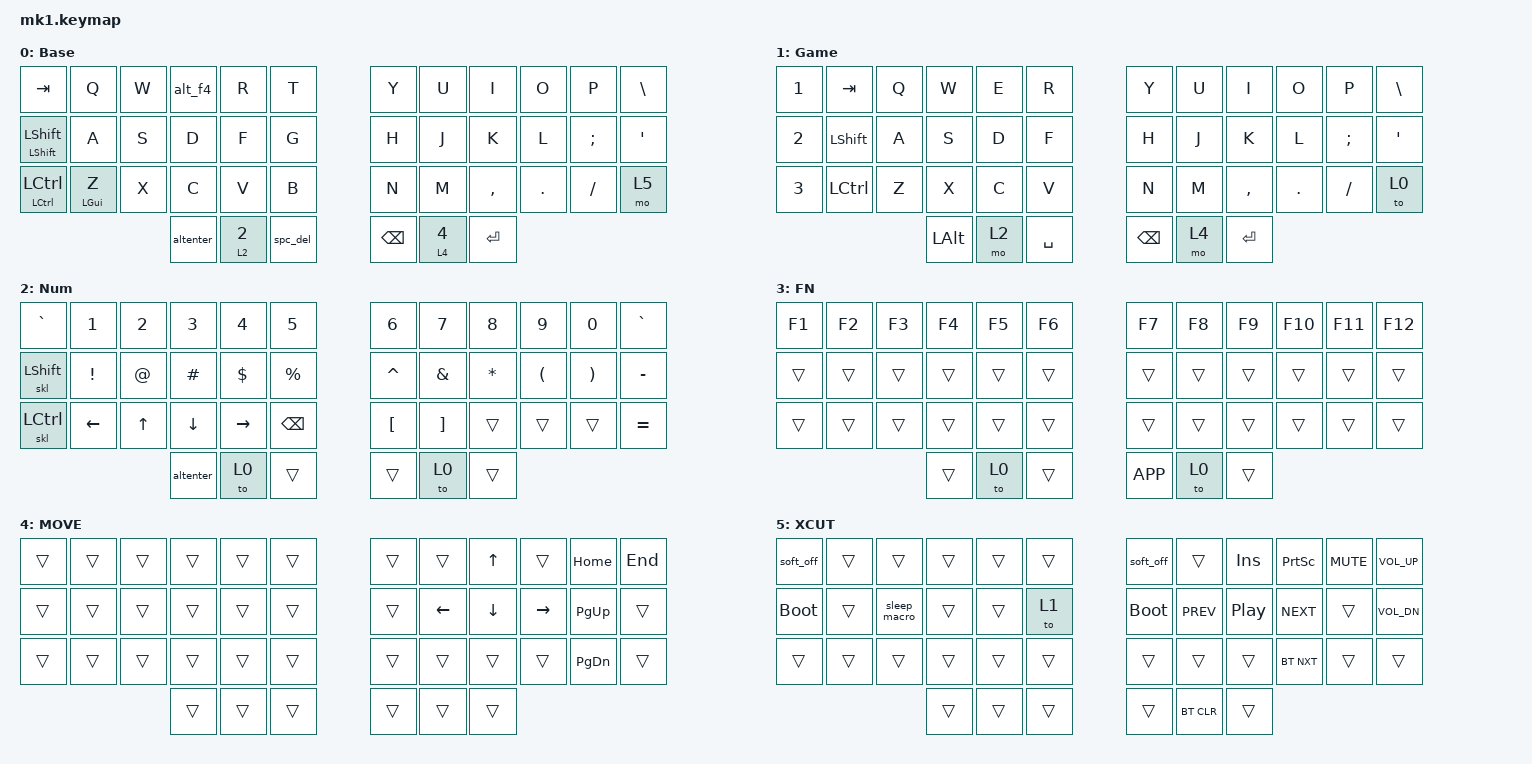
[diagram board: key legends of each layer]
#include <behaviors.dtsi>
#include <dt-bindings/zmk/keys.h>
#include <dt-bindings/zmk/bt.h>
//https://zmk.dev/docs/keymaps/behaviors/sticky-key
    / {
        behaviors {
            alt_f4: alt_f4_morph {
                compatible = "zmk,behavior-mod-morph";
                #binding-cells = <0>;
                bindings = <&kp E>, <&kp F4>;
                mods = <(MOD_LALT|MOD_RALT)>;
                keep-mods = <(MOD_LALT|MOD_RALT)>;
            };

            mt: mod_tap {
                compatible = "zmk,behavior-hold-tap";
                #binding-cells = <2>;
                tapping-term-ms = <140>;
                bindings = <&kp>, <&skq>;
                flavor = "hold-preferred";
                hold-while-undecided;
                hold-while-undecided-linger;  // prevents shift release between hold and sticky
            };

            skq: sticky_key_quick_release {
                compatible = "zmk,behavior-sticky-key";
                #binding-cells = <1>;
                bindings = <&kp>;
                release-after-ms = <250>;
                quick-release;
                ignore-modifiers;
            };

            skl: sticky_key_lazy {
                compatible = "zmk,behavior-sticky-key";
                #binding-cells = <1>;
                bindings = <&kp>;
                release-after-ms = <250>;
                ignore-modifiers;
                lazy;
            };
            
            spc_del: space_delete {
                compatible = "zmk,behavior-mod-morph";
                #binding-cells = <0>;
                bindings = <&kp SPACE>, <&kp DELETE>;
                mods = <(MOD_LSFT|MOD_RSFT)>;
                keep-mods = <(MOD_RSFT)>;
            };
    
            win_z: win_z_hold_tap {
                compatible = "zmk,behavior-hold-tap";
                label = "WIN_Z _HOLD_TAP";
                #binding-cells = <2>;
                tapping-term-ms = <140>; //hold timer to send hold key
                quick-tap-ms = <500>; //when tapped within timer, disable hold and send tap; for repeated presses
                require-prior-idle-ms = <125>; //When key press before timer, disable hold
                flavor = "tap-preferred";
                bindings = <&kp>, <&kp>;
            };

            not_so_sticky: not_so_sticky { //useful for combinations
                compatible = "zmk,behavior-sticky-key";
                label = "NOT_SO_STICKY";
                #binding-cells = <1>;
                bindings = <&mo>;
                release-after-ms = <800>; 
                ignore-modifiers;
                //no 'quick-release' makes it linger even after a keypress
            };

            td_layer1: tap_dance_layer {
                compatible = "zmk,behavior-tap-dance";
                label = "TAP_DANCE_LAYER";
                #binding-cells = <0>;
                tapping-term-ms = <140>;
                bindings = <&sl 2>, <&to 2>;    // First tap = sticky layer 2, double tap = switch to layer 2
            };

            slmo1: sticky_momentary_layer {
                compatible = "zmk,behavior-hold-tap";
                label = "STICKY_MOMENTARY_LAYER";
                #binding-cells = <2>;
                tapping-term-ms = <140>;
                quick-tap-ms = <0>;
                flavor = "balanced";
                bindings = <&mo>, <&td_layer1>;  // Hold for momentary, tap for tap-dance behavior ex:&slmo 1 2
            };
    
            td_layer2: tap_dance_layer2 {
                compatible = "zmk,behavior-tap-dance";
                label = "TAP_DANCE_LAYER2";
                #binding-cells = <0>;
                tapping-term-ms = <140>;
                bindings = <&not_so_sticky 3>, <&to 3>;    // First tap = sticky layer 1, double tap = switch to layer 1
            };

            slmo2: sticky_momentary_layer2 {
                compatible = "zmk,behavior-hold-tap";
                label = "STICKY_MOMENTARY_LAYER2";
                #binding-cells = <2>;
                tapping-term-ms = <140>;
                quick-tap-ms = <0>;
                flavor = "balanced";
                bindings = <&mo>, <&td_layer2>;  // Hold for momentary, tap for tap-dance behavior ex:&slmo 1 2
            };
        
            altenter: alt_enter {
                compatible = "zmk,behavior-tap-dance";
                label = "ALT_ENTER";
                #binding-cells = <0>;
                tapping-term-ms = <140>;
                bindings = <&kp LALT>, <&kp ENTER>;    // First tap = LALT, double tap = ENTER
            };
        };
        macros {
            sleep_macro: sleep_macro {
                compatible = "zmk,behavior-macro";
                #binding-cells = <0>;
                bindings
                    = <&macro_press &kp LGUI>
                    , <&macro_tap &kp X>
                    , <&macro_release &kp LGUI>
                    , <&macro_tap &kp U>
                    , <&macro_tap &kp S>;
            };
        };
        combos {
            compatible = "zmk,combos";
            combo_esc {
                timeout-ms = <50>;
                key-positions = <0 1>; //TAB + Q
                bindings = <&kp ESC>;
                layers = <0 1 2 3 4>;
            };
            combo_capslock {
                timeout-ms = <50>;
                key-positions = <12 13>; // SHIFT + A
                bindings = <&kp CAPSLOCK>;
                layers = <0 1 2 3 4>;
            };
        };
        
        keymap {    
            compatible = "zmk,keymap";
            default_layer {
                display-name = "Base";
                bindings = <   
                    &kp TAB             &kp Q           &kp W       &alt_f4     &kp R       &kp T       &kp Y      &kp U        &kp I       &kp O       &kp P       &kp BSLH  
                    &mt LSHFT LSHFT     &kp A           &kp S       &kp D       &kp F       &kp G       &kp H      &kp J        &kp K       &kp L       &kp SEMI    &kp APOS   
                    &mt LCTRL LCTRL     &win_z LGUI Z   &kp X       &kp C       &kp V       &kp B       &kp N      &kp M        &kp COMMA   &kp DOT     &kp SLASH   &mo 5 
                                                                    &altenter   &slmo1 2 2  &spc_del    &kp BSPC   &slmo2 4 4   &kp ENTER            
                >;
            };
            // Layer 1 (Activated on Tap)
            Game_layer {
                display-name = "Game";
                bindings = <   
                    &kp N1      &kp TAB         &kp Q       &kp W       &kp E       &kp R       &kp Y      &kp U        &kp I       &kp O       &kp P       &kp BSLH  
                    &kp N2      &kp LSHFT       &kp A       &kp S       &kp D       &kp F       &kp H      &kp J        &kp K       &kp L       &kp SEMI    &kp APOS   
                    &kp N3      &kp LCTRL       &kp Z       &kp X       &kp C       &kp V       &kp N      &kp M        &kp COMMA   &kp DOT     &kp SLASH   &to 0
                                                            &kp LALT    &mo 2       &kp SPACE   &kp BSPC   &mo 4        &kp ENTER       
                >;
            };
            // Layer 2 (Activated on hold)
            Num_layer {
                display-name = "Num";
                bindings = <
                    &kp GRAVE       &kp N1      &kp N2      &kp N3      &kp N4      &kp N5      &kp N6      &kp N7      &kp N8      &kp N9      &kp N0      &kp GRAVE 
                    &skl LSHFT      &kp EXCL    &kp AT      &kp HASH    &kp DLLR    &kp PRCNT   &kp CARET   &kp AMPS    &kp STAR    &kp LPAR    &kp RPAR    &kp MINUS
                    &skl LCTRL      &kp LEFT    &kp UP      &kp DOWN    &kp RIGHT   &kp BSPC    &kp LBKT    &kp RBKT    &trans      &trans      &trans      &kp EQUAL
                                                            &altenter   &to 0       &trans      &trans      &to 0       &trans       
                >;
            };

            // Layer 3 (Activated on tap)
            F_keys {
                display-name = "FN"; 
                bindings = <
                    &kp F1          &kp F2      &kp F3      &kp F4      &kp F5      &kp F6      &kp F7      &kp F8      &kp F9      &kp F10     &kp F11     &kp F12
                    &trans          &trans      &trans      &trans      &trans      &trans      &trans      &trans      &trans      &trans      &trans      &trans
                    &trans          &trans      &trans      &trans      &trans      &trans      &trans      &trans      &trans      &trans      &trans      &trans 
                                                            &trans      &to 0       &trans      &kp K_APP   &to 0       &trans       
                >;
            };

            // Layer 4 (Activated on hold)
            Nav_layer {
                display-name = "MOVE";
                bindings = <
                    &trans      &trans      &trans      &trans      &trans      &trans      &trans      &trans      &kp UP      &trans      &kp HOME       &kp END 
                    &trans      &trans      &trans      &trans      &trans      &trans      &trans      &kp LEFT    &kp DOWN    &kp RIGHT   &kp PG_UP      &trans 
                    &trans      &trans      &trans      &trans      &trans      &trans      &trans      &trans      &trans      &trans      &kp PG_DN      &trans 
                                                        &trans      &trans      &trans      &trans      &trans      &trans  
                    >;
                };
            // Layer 5 (Activated on hold)
            Shortcut_layer {
                display-name = "XCUT";
                bindings = <
                    &soft_off       &trans      &trans          &trans      &trans      &trans      &soft_off       &trans          &kp INS      &kp PSCRN       &kp C_MUTE    &kp C_VOL_UP 
                    &bootloader     &trans      &sleep_macro    &trans      &trans      &to 1       &bootloader     &kp C_PREV      &kp C_PP     &kp C_NEXT      &trans        &kp C_VOL_DN 
                    &trans          &trans      &trans          &trans      &trans      &trans      &trans          &trans          &trans       &bt BT_NXT      &trans        &trans 
                                                                &trans      &trans      &trans      &trans          &bt BT_CLR      &trans 
                >;
            };
        };
    };  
